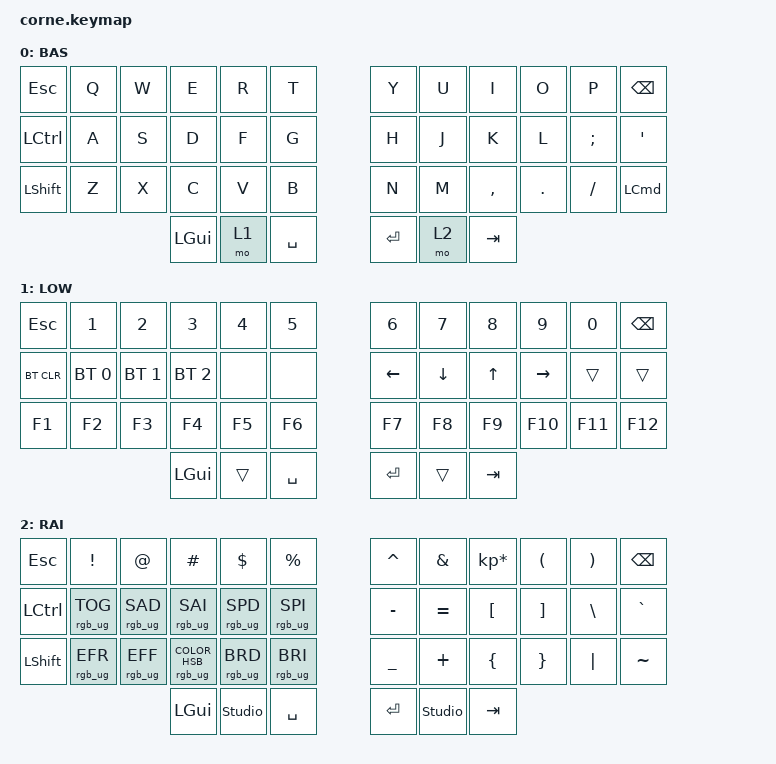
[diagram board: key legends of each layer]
/*
 * Copyright (c) 2020 The ZMK Contributors
 *
 * SPDX-License-Identifier: MIT
 */

#include <dt-bindings/led/led.h>
#include <dt-bindings/zmk/reset.h>
#include <behaviors.dtsi>
#include <dt-bindings/zmk/bt.h>
#include <dt-bindings/zmk/keys.h>
#include <dt-bindings/zmk/rgb.h>

&led_strip { chain-length = <27>; };

/ {
    keymap {
        compatible = "zmk,keymap";

        default_layer {
            display-name = "BAS";

            // -----------------------------------------------------------------------------------------
            // |  TAB |  Q  |  W  |  E  |  R  |  T  |   |  Y  |  U   |  I  |  O  |  P  | BKSP |
            // | CTRL |  A  |  S  |  D  |  F  |  G  |   |  H  |  J   |  K  |  L  |  ;  |  '   |
            // | SHFT |  Z  |  X  |  C  |  V  |  B  |   |  N  |  M   |  ,  |  .  |  /  | ESC  |
            //                    | GUI | LWR | SPC |   | ENT | RSE  | ALT |

            bindings = <
&kp ESC    &kp Q  &kp W  &kp E     &kp R  &kp T        &kp Y    &kp U  &kp I      &kp O    &kp P     &kp BSPC
&kp LCTRL  &kp A  &kp S  &kp D     &kp F  &kp G        &kp H    &kp J  &kp K      &kp L    &kp SEMI  &kp SQT
&kp LSHFT  &kp Z  &kp X  &kp C     &kp V  &kp B        &kp N    &kp M  &kp COMMA  &kp DOT  &kp FSLH  &kp LEFT_COMMAND
                         &kp LGUI  &mo 1  &kp SPACE    &kp RET  &mo 2  &kp TAB
            >;
        };

        lower_layer {
            display-name = "LOW";

            // -----------------------------------------------------------------------------------------
            // |  TAB |  1  |  2  |  3  |  4  |  5  |   |  6  |  7  |  8  |  9  |  0  | BKSP |
            // | BTCLR| BT1 | BT2 | BT3 | BT4 | BT5 |   | LFT | DWN |  UP | RGT |     |      |
            // | SHFT |     |     |     |     |     |   |     |     |     |     |     |      |
            //                    | GUI |     | SPC |   | ENT |     | ALT |

            bindings = <
&kp ESC     &kp N1        &kp N2        &kp N3        &kp N4  &kp N5       &kp N6    &kp N7    &kp N8   &kp N9     &kp N0   &kp BSPC
&bt BT_CLR  &bt BT_SEL 0  &bt BT_SEL 1  &bt BT_SEL 2  &none   &none        &kp LEFT  &kp DOWN  &kp UP   &kp RIGHT  &trans   &trans
&kp F1      &kp F2        &kp F3        &kp F4        &kp F5  &kp F6       &kp F7    &kp F8    &kp F9   &kp F10    &kp F11  &kp F12
                                        &kp LGUI      &trans  &kp SPACE    &kp RET   &trans    &kp TAB
            >;
        };

        raise_layer {
            display-name = "RAI";

            // -----------------------------------------------------------------------------------------
            // |  TAB |  !  |  @  |  #  |  $  |  %  |   |  ^  |  &  |  *  |  (  |  )  | BKSP |
            // | CTRL |     |     |     |     |     |   |  -  |  =  |  [  |  ]  |  \  |  `   |
            // | SHFT |     |     |     |     |     |   |  _  |  +  |  {  |  }  | "|" |  ~   |
            //                    | GUI |     | SPC |   | ENT |     | ALT |

            bindings = <
&kp ESC    &kp EXCL         &kp AT           &kp HASH                          &kp DLLR         &kp PRCNT          &kp CARET  &kp AMPS        &kp KP_MULTIPLY  &kp LPAR  &kp RPAR  &kp BSPC
&kp LCTRL  &rgb_ug RGB_TOG  &rgb_ug RGB_SAD  &rgb_ug RGB_SAI                   &rgb_ug RGB_SPD  &rgb_ug RGB_SPI    &kp MINUS  &kp EQUAL       &kp LBKT         &kp RBKT  &kp BSLH  &kp GRAVE
&kp LSHFT  &rgb_ug RGB_EFR  &rgb_ug RGB_EFF  &rgb_ug RGB_COLOR_HSB(280,45,42)  &rgb_ug RGB_BRD  &rgb_ug RGB_BRI    &kp UNDER  &kp PLUS        &kp LBRC         &kp RBRC  &kp PIPE  &kp TILDE
                                             &kp LGUI                          &studio_unlock   &kp SPACE          &kp RET    &studio_unlock  &kp TAB
            >;
        };

        extra_1 { status = "reserved"; };

        extra_2 { status = "reserved"; };

        extra_3 { status = "reserved"; };
    };
};
